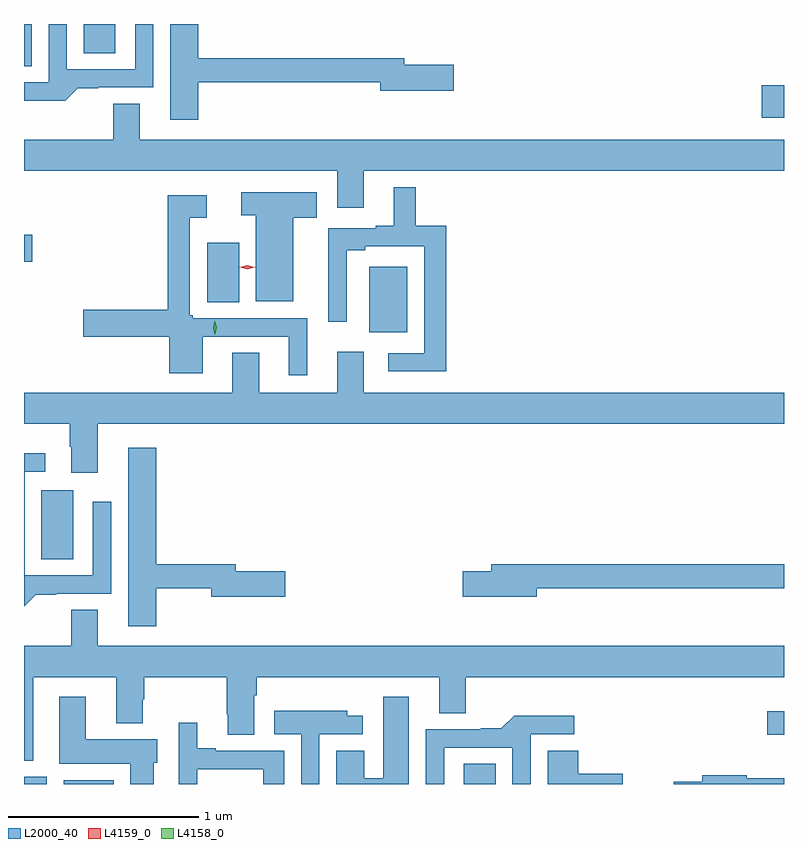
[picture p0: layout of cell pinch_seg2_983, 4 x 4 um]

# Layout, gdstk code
import gdstk
lib = gdstk.Library(unit=1e-6, precision=1e-09)
def R(c, l, rs):  # rectangles x0, y0, x1, y1
    for r in rs: c.add(gdstk.rectangle(r[:2], r[2:], *l))
def P(c, l, *ps):  # polygons
    for p in ps: c.add(gdstk.Polygon(p, *l))
L2000_40 = (2000, 40)
L4158_0 = (4158, 0)
L4159_0 = (4159, 0)

pinch_seg2_983 = lib.new_cell('pinch_seg2_983')
R(pinch_seg2_983, L2000_40, [(205.206,588.465,205.327,588.502), (205.415,588.465,205.678,588.484), (207.521,588.465,207.688,588.572), (209.118,588.725,209.206,588.847), (205.298,589.648,205.465,590.011), (207.023,590.843,207.223,591.187), (206.171,591.001,206.338,591.313), (205.206,591.215,205.249,591.357), (209.088,591.971,209.206,592.142), (205.206,592.243,205.246,592.465), (205.52,592.312,205.687,592.465)])
P(pinch_seg2_983, L2000_40, [(206.123,592.158),(207.08,592.158),(207.08,592.115),(207.469,592.115),(207.469,592.25),(207.208,592.25),(207.208,592.286),(206.123,592.286),(206.123,592.465),(205.976,592.465),(205.976,591.96),(206.123,591.96)],
  [(205.489,592.126),(205.597,592.126),(205.597,592.131),(205.887,592.131),(205.887,592.465),(205.791,592.465),(205.791,592.227),(205.431,592.227),(205.431,592.465),(205.335,592.465),(205.335,592.158),(205.206,592.158),(205.206,592.061),(205.424,592.061)],
  [(206.995,591.692),(209.206,591.692),(209.206,591.856),(205.816,591.856),(205.816,592.046),(205.676,592.046),(205.676,591.856),(205.206,591.856),(205.206,591.692),(206.855,591.692),(206.855,591.498),(206.995,591.498)],
  [(207.428,591.403),(207.269,591.403),(207.269,591.607),(207.152,591.607),(207.152,591.403),(207.056,591.403),(207.056,591.39),(206.807,591.39),(206.807,590.898),(206.904,590.898),(206.904,591.274),(207.001,591.274),(207.001,591.294),(207.312,591.294),(207.312,590.733),(207.123,590.733),(207.123,590.637),(207.428,590.637)],
  [(206.623,591.446),(206.746,591.446),(206.746,591.58),(206.349,591.58),(206.349,591.458),(206.426,591.458),(206.426,591.005),(206.623,591.005)],
  [(206.698,590.916),(206.094,590.916),(206.094,590.931),(206.079,590.931),(206.079,591.446),(206.167,591.446),(206.167,591.565),(205.963,591.565),(205.963,590.96),(205.518,590.96),(205.518,590.818),(205.97,590.818),(205.97,590.627),(206.146,590.627),(206.146,590.82),(206.6,590.82),(206.6,590.616),(206.698,590.616)],
  [(205.594,590.36),(209.206,590.36),(209.206,590.524),(206.995,590.524),(206.995,590.74),(206.855,590.74),(206.855,590.524),(206.443,590.524),(206.443,590.735),(206.303,590.735),(206.303,590.524),(205.206,590.524),(205.206,590.36),(205.447,590.36),(205.447,590.24),(205.454,590.24),(205.454,590.103),(205.594,590.103)],
  [(205.901,589.494),(206.192,589.494),(206.192,589.451),(206.581,589.451),(206.581,589.586),(206.32,589.586),(206.32,589.622),(205.901,589.622),(205.901,590.236),(205.754,590.236),(205.754,589.296),(205.901,589.296)],
  [(205.267,589.462),(205.375,589.462),(205.375,589.467),(205.665,589.467),(205.665,589.951),(205.569,589.951),(205.569,589.563),(205.209,589.563),(205.209,590.109),(205.318,590.109),(205.318,590.206),(205.206,590.206),(205.206,589.401)],
  [(207.904,589.494),(209.206,589.494),(209.206,589.622),(207.665,589.622),(207.665,589.586),(207.516,589.586),(207.516,589.451),(207.904,589.451)],
  [(205.255,589.028),(205.691,589.028),(205.691,588.785),(205.831,588.785),(205.831,588.912),(205.839,588.912),(205.839,589.028),(206.272,589.028),(206.272,588.832),(206.279,588.832),(206.279,588.724),(206.419,588.724),(206.419,588.932),(206.432,588.932),(206.432,589.028),(207.392,589.028),(207.392,588.838),(207.532,588.838),(207.532,589.028),(209.206,589.028),(209.206,589.192),(205.594,589.192),(205.594,589.382),(205.454,589.382),(205.454,589.192),(205.206,589.192),(205.206,588.587),(205.255,588.587)],
  [(205.888,588.576),(205.906,588.576),(205.906,588.7),(205.531,588.7),(205.531,588.925),(205.391,588.925),(205.391,588.572),(205.766,588.572),(205.766,588.465),(205.888,588.465)],
  [(207.232,588.925),(207.098,588.925),(207.098,588.495),(206.998,588.495),(206.998,588.641),(206.849,588.641),(206.849,588.465),(207.232,588.465)],
  [(206.76,588.726),(206.989,588.726),(206.989,588.824),(206.907,588.824),(206.907,588.85),(206.523,588.85),(206.523,588.728),(206.664,588.728),(206.664,588.465),(206.76,588.465)],
  [(207.417,588.657),(207.777,588.657),(207.777,588.465),(207.873,588.465),(207.873,588.726),(208.102,588.726),(208.102,588.824),(207.785,588.824),(207.719,588.758),(207.611,588.758),(207.611,588.753),(207.321,588.753),(207.321,588.465),(207.417,588.465)],
  [(206.118,588.543),(206.465,588.543),(206.465,588.465),(206.575,588.465),(206.575,588.639),(206.215,588.639),(206.215,588.652),(206.119,588.652),(206.119,588.787),(206.021,588.787),(206.021,588.465),(206.118,588.465)],
  [(208.357,588.518),(208.124,588.518),(208.124,588.641),(207.962,588.641),(207.962,588.465),(208.357,588.465)],
  [(209.206,588.495),(209.01,588.495),(209.01,588.512),(208.775,588.512),(208.775,588.476),(208.626,588.476),(208.626,588.465),(209.206,588.465)])
P(pinch_seg2_983, L4158_0, [(206.211,590.831),(206.211,590.832),(206.201,590.867),(206.21,590.903),(206.21,590.903),(206.21,590.903),(206.221,590.868),(206.212,590.832)])
P(pinch_seg2_983, L4159_0, [(206.382,591.175),(206.342,591.185),(206.342,591.185),(206.342,591.185),(206.382,591.195),(206.421,591.185),(206.422,591.185),(206.421,591.185)])

lib.write_gds('pinch_seg2_983.gds')
